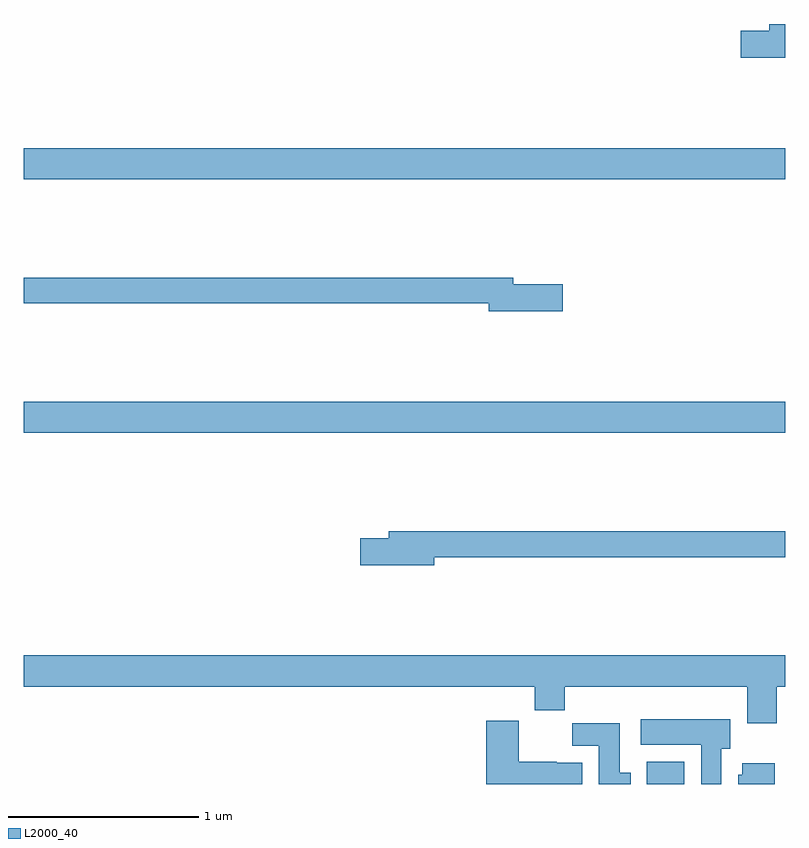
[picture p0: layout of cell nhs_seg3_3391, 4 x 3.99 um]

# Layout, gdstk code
import gdstk
lib = gdstk.Library(unit=1e-6, precision=1e-09)
def R(c, l, rs):  # rectangles x0, y0, x1, y1
    for r in rs: c.add(gdstk.rectangle(r[:2], r[2:], *l))
def P(c, l, *ps):  # polygons
    for p in ps: c.add(gdstk.Polygon(p, *l))
L2000_40 = (2000, 40)

nhs_seg3_3391 = lib.new_cell('nhs_seg3_3391')
R(nhs_seg3_3391, L2000_40, [(290.273,704.4,290.47,704.518), (287,706.244,291,706.408), (287,707.576,291,707.74)])
P(nhs_seg3_3391, L2000_40, [(291,708.392),(290.915,708.392),(290.915,708.356),(290.766,708.356),(290.766,708.214),(291,708.214)],
  [(289.831,707.024),(289.57,707.024),(289.57,707.06),(287,707.06),(287,706.924),(289.442,706.924),(289.442,706.882),(289.831,706.882)],
  [(289.156,705.592),(291,705.592),(291,705.728),(288.917,705.728),(288.917,705.692),(288.768,705.692),(288.768,705.55),(289.156,705.55)],
  [(290.954,704.912),(291,704.912),(291,705.076),(287,705.076),(287,704.912),(289.685,704.912),(289.685,704.788),(289.841,704.788),(289.841,704.912),(290.801,704.912),(290.801,704.718),(290.954,704.718)],
  [(290.665,704.586),(290.71,704.586),(290.71,704.74),(290.241,704.74),(290.241,704.606),(290.558,704.606),(290.558,704.4),(290.665,704.4)],
  [(289.933,704.512),(289.8,704.512),(289.8,704.518),(289.6,704.518),(289.6,704.731),(289.43,704.731),(289.43,704.4),(289.933,704.4)],
  [(290.188,704.46),(290.131,704.46),(290.131,704.719),(289.882,704.719),(289.882,704.6),(290.021,704.6),(290.021,704.4),(290.188,704.4)],
  [(290.945,704.509),(290.774,704.509),(290.774,704.448),(290.753,704.448),(290.753,704.4),(290.945,704.4)])

lib.write_gds('nhs_seg3_3391.gds')
